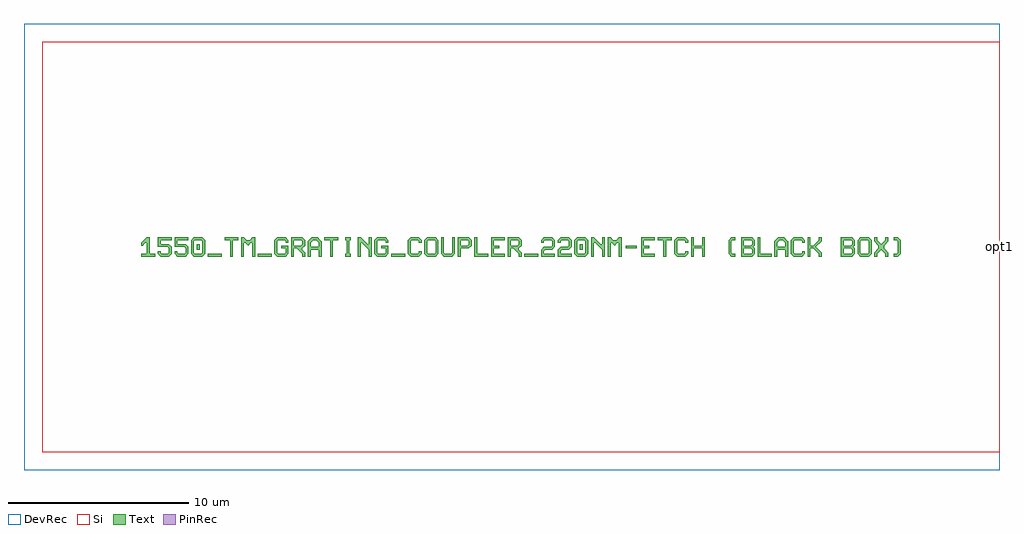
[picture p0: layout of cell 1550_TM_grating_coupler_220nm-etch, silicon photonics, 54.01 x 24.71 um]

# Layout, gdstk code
import gdstk
lib = gdstk.Library(unit=1e-6, precision=1e-09)
def R(c, l, rs):  # rectangles x0, y0, x1, y1
    for r in rs: c.add(gdstk.rectangle(r[:2], r[2:], *l))
def A(c, l, x, y, w, h, nx, ny, dx, dy):  # array of equal rectangles
    R(c, l, [(x+i*dx, y+j*dy, x+i*dx+w, y+j*dy+h) for i in range(nx) for j in range(ny)])
def P(c, l, *ps):  # polygons
    for p in ps: c.add(gdstk.Polygon(p, *l))
Si = (1, 0)
PinRec = (1, 10)
Text = (10, 0)
DevRec = (68, 0)

text = lib.new_cell('TEXT')
A(text, Text, 6.454, 0, 0.768, 0.154, 3, 1, 7.376, 0)
R(text, Text, [(3.688,0,4.456,0.154), (3.073,0.384,3.227,0.691), (24.279,0.384,24.433,0.691), (26.815,0.461,27.429,0.614)])
P(text, Text, [(0,0),(0,0.154),(0.307,0.154),(0.307,0.768),(0.23,0.768),(0.077,0.614),(0,0.614),(0,0.768),(0.307,1.075),(0.461,1.075),(0.461,0.154),(0.768,0.154),(0.768,0)],
  [(1.076,0),(0.922,0.154),(0.922,0.307),(1.076,0.307),(1.076,0.23),(1.152,0.154),(1.46,0.154),(1.536,0.23),(1.536,0.461),(1.46,0.538),(0.922,0.538),(0.922,1.075),(1.69,1.075),(1.69,0.922),(1.076,0.922),(1.076,0.691),(1.536,0.691),(1.69,0.538),(1.69,0.154),(1.536,0)],
  [(1.998,0),(1.844,0.154),(1.844,0.307),(1.998,0.307),(1.998,0.23),(2.074,0.154),(2.382,0.154),(2.458,0.23),(2.458,0.461),(2.382,0.538),(1.844,0.538),(1.844,1.075),(2.612,1.075),(2.612,0.922),(1.998,0.922),(1.998,0.691),(2.458,0.691),(2.612,0.538),(2.612,0.154),(2.458,0)],
  [(2.92,0),(2.766,0.154),(2.766,0.922),(2.92,1.075),(3.38,1.075),(3.534,0.922),(2.996,0.922),(2.92,0.845),(2.92,0.23),(2.996,0.154),(3.304,0.154),(3.38,0.23),(3.38,0.845),(3.304,0.922),(3.534,0.922),(3.534,0.154),(3.38,0)],
  [(4.917,0),(4.917,0.922),(4.61,0.922),(4.61,1.075),(5.378,1.075),(5.378,0.922),(5.071,0.922),(5.071,0)],
  [(5.532,0),(5.532,1.075),(5.686,1.075),(5.839,0.922),(5.993,0.922),(6.146,1.075),(6.3,1.075),(6.3,0),(6.146,0),(6.146,0.768),(6.07,0.768),(5.916,0.614),(5.762,0.768),(5.686,0.768),(5.686,0)],
  [(7.53,0),(7.376,0.154),(7.376,0.922),(7.53,1.075),(7.99,1.075),(8.144,0.922),(8.144,0.768),(7.99,0.768),(7.99,0.845),(7.914,0.922),(7.606,0.922),(7.53,0.845),(7.53,0.23),(7.606,0.154),(7.914,0.154),(7.99,0.23),(7.99,0.461),(7.76,0.461),(7.76,0.614),(8.144,0.614),(8.144,0.154),(7.99,0)],
  [(8.298,0),(8.298,1.075),(8.912,1.075),(9.066,0.922),(8.452,0.922),(8.452,0.614),(8.836,0.614),(8.912,0.691),(8.912,0.845),(8.836,0.922),(9.066,0.922),(9.066,0.614),(8.912,0.461),(8.912,0.384),(9.066,0.23),(9.066,0),(8.912,0),(8.912,0.154),(8.605,0.461),(8.452,0.461),(8.452,0)],
  [(9.22,0),(9.22,0.845),(9.45,1.075),(9.758,1.075),(9.911,0.922),(9.527,0.922),(9.374,0.768),(9.374,0.538),(9.834,0.538),(9.834,0.768),(9.681,0.922),(9.911,0.922),(9.988,0.845),(9.988,0),(9.834,0),(9.834,0.384),(9.374,0.384),(9.374,0)],
  [(10.449,0),(10.449,0.922),(10.142,0.922),(10.142,1.075),(10.91,1.075),(10.91,0.922),(10.603,0.922),(10.603,0)],
  [(11.294,0),(11.294,0.154),(11.371,0.154),(11.371,0.922),(11.294,0.922),(11.294,1.075),(11.602,1.075),(11.602,0.922),(11.525,0.922),(11.525,0.154),(11.602,0.154),(11.602,0)],
  [(11.986,0),(11.986,1.075),(12.14,1.075),(12.524,0.691),(12.6,0.691),(12.6,1.075),(12.754,1.075),(12.754,0),(12.6,0),(12.6,0.384),(12.216,0.768),(12.14,0.768),(12.14,0)],
  [(13.062,0),(12.908,0.154),(12.908,0.922),(13.062,1.075),(13.522,1.075),(13.676,0.922),(13.676,0.768),(13.522,0.768),(13.522,0.845),(13.446,0.922),(13.138,0.922),(13.062,0.845),(13.062,0.23),(13.138,0.154),(13.446,0.154),(13.522,0.23),(13.522,0.461),(13.292,0.461),(13.292,0.614),(13.676,0.614),(13.676,0.154),(13.522,0)],
  [(14.906,0),(14.752,0.154),(14.752,0.922),(14.906,1.075),(15.366,1.075),(15.52,0.922),(15.52,0.768),(15.366,0.768),(15.366,0.845),(15.29,0.922),(14.982,0.922),(14.906,0.845),(14.906,0.23),(14.982,0.154),(15.29,0.154),(15.366,0.23),(15.366,0.307),(15.52,0.307),(15.52,0.154),(15.366,0)],
  [(15.828,0),(15.674,0.154),(15.674,0.922),(15.828,1.075),(16.288,1.075),(16.442,0.922),(16.442,0.538),(16.288,0.538),(16.288,0.845),(16.212,0.922),(15.904,0.922),(15.828,0.845),(15.828,0.23),(15.904,0.154),(16.212,0.154),(16.288,0.23),(16.288,0.538),(16.442,0.538),(16.442,0.154),(16.288,0)],
  [(16.75,0),(16.596,0.154),(16.596,1.075),(16.75,1.075),(16.75,0.23),(16.826,0.154),(17.134,0.154),(17.21,0.23),(17.21,1.075),(17.364,1.075),(17.364,0.154),(17.21,0)],
  [(17.518,0),(17.518,1.075),(18.132,1.075),(18.286,0.922),(18.286,0.614),(18.132,0.461),(17.672,0.461),(17.672,0.614),(18.056,0.614),(18.132,0.691),(18.132,0.845),(18.056,0.922),(17.672,0.922),(17.672,0)],
  [(18.44,0),(18.44,1.075),(18.594,1.075),(18.594,0.154),(19.208,0.154),(19.208,0)],
  [(19.362,0),(19.362,1.075),(20.13,1.075),(20.13,0.922),(19.516,0.922),(19.516,0.614),(19.823,0.614),(19.823,0.461),(19.516,0.461),(19.516,0.154),(20.13,0.154),(20.13,0)],
  [(20.284,0),(20.284,1.075),(20.898,1.075),(21.052,0.922),(20.438,0.922),(20.438,0.614),(20.822,0.614),(20.898,0.691),(20.898,0.845),(20.822,0.922),(21.052,0.922),(21.052,0.614),(20.898,0.461),(20.898,0.384),(21.052,0.23),(21.052,0),(20.898,0),(20.898,0.154),(20.591,0.461),(20.438,0.461),(20.438,0)],
  [(22.128,0),(22.128,0.384),(22.282,0.538),(22.666,0.538),(22.742,0.614),(22.742,0.845),(22.666,0.922),(22.358,0.922),(22.282,0.845),(22.282,0.768),(22.128,0.768),(22.128,0.922),(22.282,1.075),(22.742,1.075),(22.896,0.922),(22.896,0.538),(22.742,0.384),(22.358,0.384),(22.282,0.307),(22.282,0.154),(22.896,0.154),(22.896,0)],
  [(23.05,0),(23.05,0.384),(23.204,0.538),(23.588,0.538),(23.664,0.614),(23.664,0.845),(23.588,0.922),(23.28,0.922),(23.204,0.845),(23.204,0.768),(23.05,0.768),(23.05,0.922),(23.204,1.075),(23.664,1.075),(23.818,0.922),(23.818,0.538),(23.664,0.384),(23.28,0.384),(23.204,0.307),(23.204,0.154),(23.818,0.154),(23.818,0)],
  [(24.126,0),(23.972,0.154),(23.972,0.922),(24.126,1.075),(24.586,1.075),(24.74,0.922),(24.202,0.922),(24.126,0.845),(24.126,0.23),(24.202,0.154),(24.51,0.154),(24.586,0.23),(24.586,0.845),(24.51,0.922),(24.74,0.922),(24.74,0.154),(24.586,0)],
  [(24.894,0),(24.894,1.075),(25.048,1.075),(25.432,0.691),(25.508,0.691),(25.508,1.075),(25.662,1.075),(25.662,0),(25.508,0),(25.508,0.384),(25.124,0.768),(25.048,0.768),(25.048,0)],
  [(25.816,0),(25.816,1.075),(25.97,1.075),(26.123,0.922),(26.277,0.922),(26.43,1.075),(26.584,1.075),(26.584,0),(26.43,0),(26.43,0.768),(26.354,0.768),(26.2,0.614),(26.046,0.768),(25.97,0.768),(25.97,0)],
  [(27.66,0),(27.66,1.075),(28.428,1.075),(28.428,0.922),(27.814,0.922),(27.814,0.614),(28.121,0.614),(28.121,0.461),(27.814,0.461),(27.814,0.154),(28.428,0.154),(28.428,0)],
  [(28.889,0),(28.889,0.922),(28.582,0.922),(28.582,1.075),(29.35,1.075),(29.35,0.922),(29.043,0.922),(29.043,0)],
  [(29.658,0),(29.504,0.154),(29.504,0.922),(29.658,1.075),(30.118,1.075),(30.272,0.922),(30.272,0.768),(30.118,0.768),(30.118,0.845),(30.042,0.922),(29.734,0.922),(29.658,0.845),(29.658,0.23),(29.734,0.154),(30.042,0.154),(30.118,0.23),(30.118,0.307),(30.272,0.307),(30.272,0.154),(30.118,0)],
  [(30.426,0),(30.426,1.075),(30.58,1.075),(30.58,0.614),(31.04,0.614),(31.04,1.075),(31.194,1.075),(31.194,0),(31.04,0),(31.04,0.461),(30.58,0.461),(30.58,0)],
  [(32.654,0),(32.5,0.154),(32.5,0.922),(32.654,1.075),(32.884,1.075),(32.884,0.922),(32.731,0.922),(32.654,0.845),(32.654,0.23),(32.731,0.154),(32.884,0.154),(32.884,0)],
  [(33.192,0),(33.192,1.075),(33.806,1.075),(33.96,0.922),(33.346,0.922),(33.346,0.614),(33.73,0.614),(33.806,0.691),(33.806,0.845),(33.73,0.922),(33.96,0.922),(33.96,0.614),(33.883,0.538),(33.96,0.461),(33.346,0.461),(33.346,0.154),(33.73,0.154),(33.806,0.23),(33.806,0.384),(33.73,0.461),(33.96,0.461),(33.96,0.154),(33.806,0)],
  [(34.114,0),(34.114,1.075),(34.268,1.075),(34.268,0.154),(34.882,0.154),(34.882,0)],
  [(35.036,0),(35.036,0.845),(35.266,1.075),(35.574,1.075),(35.727,0.922),(35.343,0.922),(35.19,0.768),(35.19,0.538),(35.65,0.538),(35.65,0.768),(35.497,0.922),(35.727,0.922),(35.804,0.845),(35.804,0),(35.65,0),(35.65,0.384),(35.19,0.384),(35.19,0)],
  [(36.112,0),(35.958,0.154),(35.958,0.922),(36.112,1.075),(36.572,1.075),(36.726,0.922),(36.726,0.768),(36.572,0.768),(36.572,0.845),(36.496,0.922),(36.188,0.922),(36.112,0.845),(36.112,0.23),(36.188,0.154),(36.496,0.154),(36.572,0.23),(36.572,0.307),(36.726,0.307),(36.726,0.154),(36.572,0)],
  [(36.88,0),(36.88,1.075),(37.034,1.075),(37.034,0.614),(37.187,0.614),(37.494,0.922),(37.494,1.075),(37.648,1.075),(37.648,0.845),(37.341,0.538),(37.648,0.23),(37.648,0),(37.494,0),(37.494,0.154),(37.187,0.461),(37.034,0.461),(37.034,0)],
  [(38.724,0),(38.724,1.075),(39.338,1.075),(39.492,0.922),(38.878,0.922),(38.878,0.614),(39.262,0.614),(39.338,0.691),(39.338,0.845),(39.262,0.922),(39.492,0.922),(39.492,0.614),(39.415,0.538),(39.492,0.461),(38.878,0.461),(38.878,0.154),(39.262,0.154),(39.338,0.23),(39.338,0.384),(39.262,0.461),(39.492,0.461),(39.492,0.154),(39.338,0)],
  [(39.8,0),(39.646,0.154),(39.646,0.922),(39.8,1.075),(40.26,1.075),(40.414,0.922),(40.414,0.538),(40.26,0.538),(40.26,0.845),(40.184,0.922),(39.876,0.922),(39.8,0.845),(39.8,0.23),(39.876,0.154),(40.184,0.154),(40.26,0.23),(40.26,0.538),(40.414,0.538),(40.414,0.154),(40.26,0)],
  [(40.568,0),(40.568,0.23),(40.798,0.461),(40.798,0.614),(40.568,0.845),(40.568,1.075),(40.722,1.075),(40.722,0.922),(40.952,0.691),(41.182,0.922),(41.182,1.075),(41.336,1.075),(41.336,0.845),(41.106,0.614),(41.106,0.461),(41.336,0.23),(41.336,0),(41.182,0),(41.182,0.154),(40.952,0.384),(40.722,0.154),(40.722,0)],
  [(41.644,0),(41.644,0.154),(41.797,0.154),(41.874,0.23),(41.874,0.845),(41.797,0.922),(41.644,0.922),(41.644,1.075),(41.874,1.075),(42.028,0.922),(42.028,0.154),(41.874,0)])

c_1550_tm_grating_coupler_ = lib.new_cell('1550_TM_grating_coupler_220nm-etch')
R(c_1550_tm_grating_coupler_, Si, [(-26.5,-11.357,26.5,11.357)])
R(c_1550_tm_grating_coupler_, DevRec, [(-27.5,-12.357,26.5,12.357)])
c_1550_tm_grating_coupler_.add(gdstk.FlexPath([(26.49,0),(26.51,0)], 0.5, ends="flush", simple_path=True, layer=1, datatype=10))  # PinRec
c_1550_tm_grating_coupler_.add(gdstk.Reference(text, (-21.014,-0.537)))
c_1550_tm_grating_coupler_.add(gdstk.Label('opt1', (26.5,0), layer=1, texttype=10))

lib.write_gds('1550_TM_grating_coupler_220nm-etch.gds')
